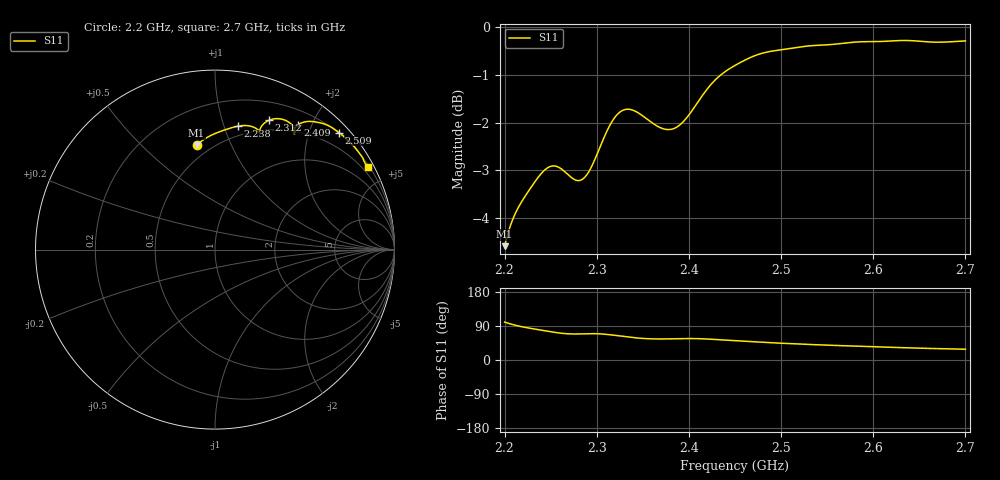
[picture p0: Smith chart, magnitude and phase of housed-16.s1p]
! PRELIMINARY bare PCB unless shell_eps > 0; see README.md
! L220 output ($1N324), with L220 and C216 excluded and C217 DNP
# Hz S RI R 50
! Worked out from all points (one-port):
!   501 points, 2.2 GHz to 2.7 GHz, reference 50 ohm
!   lowest |S11| = -4.6 dB at 2.2 GHz (marker M1), VSWR 3.87, Z = 21 + j37.4 ohm
!   |S11| at or under -10 dB: nowhere
!   S11 on the Smith chart (normalised r, x): 2.2 GHz: 0.42, +0.75; 2.238 GHz: 0.41, +1.11; 2.312 GHz: 0.39, +1.43; 2.409 GHz: 0.40, +1.80; 2.509 GHz: 0.19, +2.51; 2.7 GHz: 0.27, +3.93
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2.2e9  -0.1024 0.5808
2.208e9  -0.0443 0.6246
2.215e9  0.00285 0.6477
2.238e9  0.1279 0.6876
2.25e9  0.1902 0.6892
2.263e9  0.2398 0.667
2.275e9  0.2529 0.6454
2.284e9  0.2491 0.6462
2.298e9  0.2554 0.6809
2.305e9  0.2739 0.7035
2.312e9  0.3024 0.721
2.318e9  0.3315 0.7288
2.325e9  0.3659 0.7281
2.338e9  0.4169 0.7055
2.35e9  0.441 0.6763
2.37e9  0.4445 0.6459
2.379e9  0.44 0.6457
2.388e9  0.4375 0.6545
2.399e9  0.4436 0.6742
2.409e9  0.4609 0.6937
2.427e9  0.5113 0.7134
2.45e9  0.5741 0.7087
2.481e9  0.6452 0.6837
2.509e9  0.6913 0.6515
2.513e9  0.6971 0.6473
2.575e9  0.7693 0.5809
2.638e9  0.821 0.514
2.7e9  0.8508 0.4608
